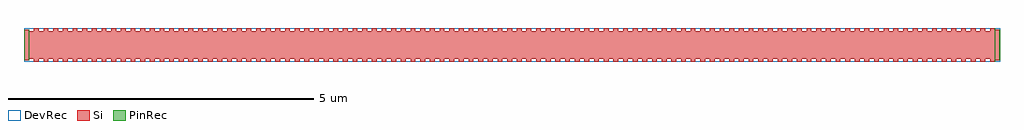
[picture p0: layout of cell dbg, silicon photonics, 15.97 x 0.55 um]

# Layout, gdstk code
from math import pi, radians
import gdstk
lib = gdstk.Library(unit=1e-6, precision=1e-09)
def R(c, l, rs):  # rectangles x0, y0, x1, y1
    for r in rs: c.add(gdstk.rectangle(r[:2], r[2:], *l))
Si = (1, 0)
PinRec = (1, 10)
DevRec = (68, 0)

straight_127407f9 = lib.new_cell('straight_127407f9')
R(straight_127407f9, Si, [(0,-0.225,0.079,0.225)])

straight_f0f9c432 = lib.new_cell('straight_f0f9c432')
R(straight_f0f9c432, Si, [(0,-0.275,0.079,0.275)])

dbr_cell_d18f98e8 = lib.new_cell('dbr_cell_d18f98e8')
dbr_cell_d18f98e8.add(gdstk.Reference(straight_127407f9, (0,0)))
dbr_cell_d18f98e8.add(gdstk.Reference(straight_f0f9c432, (0.079,0)))

dbr_6d88ba1f = lib.new_cell('dbr_6d88ba1f')
dbr_6d88ba1f.add(gdstk.FlexPath([(0.005,0),(-0.005,0)], 0.45, ends="flush", simple_path=True, layer=1, datatype=10))  # PinRec
dbr_6d88ba1f.add(gdstk.FlexPath([(15.795,0),(15.805,0)], 0.55, ends="flush", simple_path=True, layer=1, datatype=10))  # PinRec
r = gdstk.Reference(dbr_cell_d18f98e8, (0,0)); r.repetition = gdstk.Repetition(100, 1, v1=(0.158,0), v2=(0,100)); dbr_6d88ba1f.add(r)
dbr_6d88ba1f.add(gdstk.Label('o1', (0,0), layer=1, texttype=10))
dbr_6d88ba1f.add(gdstk.Label('o2', (15.8,0), layer=1, texttype=10))

straight_2c162541 = lib.new_cell('straight_2c162541')
R(straight_2c162541, Si, [(0,-0.25,0.079,0.25)])
straight_2c162541.add(gdstk.FlexPath([(0.005,0),(-0.005,0)], 0.5, ends="flush", simple_path=True, layer=1, datatype=10))  # PinRec
straight_2c162541.add(gdstk.FlexPath([(0.074,0),(0.084,0)], 0.5, ends="flush", simple_path=True, layer=1, datatype=10))  # PinRec
straight_2c162541.add(gdstk.Label('o1', (0,0), layer=1, texttype=10))
straight_2c162541.add(gdstk.Label('o2', (0.079,0), layer=1, texttype=10))

dbg = lib.new_cell('dbg')
R(dbg, DevRec, [(-0.084,-0.275,15.884,0.275)])
dbg.add(gdstk.Reference(dbr_6d88ba1f, (0,0)))
dbg.add(gdstk.Reference(straight_2c162541, (-0.079,0)))
dbg.add(gdstk.Reference(straight_2c162541, (15.879,0), rotation=pi))

lib.write_gds('dbg.gds')
